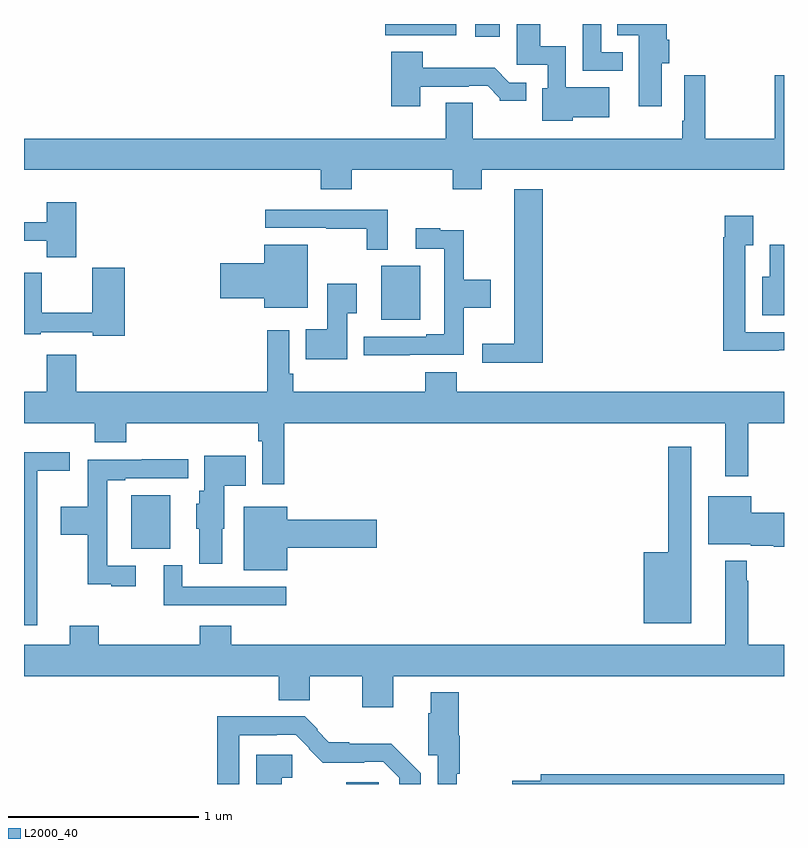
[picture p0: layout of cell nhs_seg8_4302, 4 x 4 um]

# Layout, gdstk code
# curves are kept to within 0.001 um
import gdstk
lib = gdstk.Library(unit=1e-6, precision=1e-09)
def R(c, l, rs):  # rectangles x0, y0, x1, y1
    for r in rs: c.add(gdstk.rectangle(r[:2], r[2:], *l))
def P(c, l, *ps):  # polygons
    for p in ps: c.add(gdstk.Polygon(p, *l))
L2000_40 = (2000, 40)

nhs_seg8_4302 = lib.new_cell('nhs_seg8_4302')
R(nhs_seg8_4302, L2000_40, [(374.696,1147.9,374.866,1147.908), (373.565,1149.137,373.771,1149.421), (374.879,1150.343,375.085,1150.627), (375.374,1151.832,375.505,1151.9), (374.901,1151.84,375.274,1151.9)])
P(nhs_seg8_4302, L2000_40, [(376.15,1151.751),(376.038,1151.751),(376.038,1151.9),(375.942,1151.9),(375.942,1151.655),(376.15,1151.655)],
  [(376.357,1151.694),(376.397,1151.694),(376.397,1151.816),(376.384,1151.816),(376.384,1151.9),(376.123,1151.9),(376.123,1151.84),(376.235,1151.84),(376.235,1151.466),(376.357,1151.466)],
  [(375.888,1151.408),(376.081,1151.408),(376.081,1151.566),(375.852,1151.566),(375.852,1151.782),(375.718,1151.782),(375.718,1151.9),(375.593,1151.9),(375.593,1151.685),(375.756,1151.685),(375.756,1151.562),(375.728,1151.562),(375.728,1151.39),(375.888,1151.39)],
  [(375.085,1151.571),(375.341,1151.571),(375.341,1151.574),(375.44,1151.574),(375.504,1151.51),(375.504,1151.495),(375.643,1151.495),(375.643,1151.592),(375.555,1151.592),(375.477,1151.671),(375.098,1151.671),(375.098,1151.755),(374.933,1151.755),(374.933,1151.466),(375.085,1151.466)],
  [(374.726,1151.132),(375.257,1151.132),(375.257,1151.03),(375.409,1151.03),(375.409,1151.132),(377,1151.132),(377,1151.629),(376.95,1151.629),(376.95,1151.296),(376.585,1151.296),(376.585,1151.629),(376.476,1151.629),(376.476,1151.392),(376.464,1151.392),(376.464,1151.296),(375.361,1151.296),(375.361,1151.486),(375.221,1151.486),(375.221,1151.296),(373,1151.296),(373,1151.132),(374.561,1151.132),(374.561,1151.03),(374.726,1151.03)],
  [(375.731,1151.029),(375.581,1151.029),(375.581,1150.217),(375.411,1150.217),(375.411,1150.118),(375.731,1150.118)],
  [(373.274,1150.963),(373.121,1150.963),(373.121,1150.857),(373,1150.857),(373,1150.76),(373.119,1150.76),(373.119,1150.673),(373.274,1150.673)],
  [(374.914,1150.923),(374.271,1150.923),(374.271,1150.827),(374.59,1150.827),(374.59,1150.822),(374.805,1150.822),(374.805,1150.712),(374.914,1150.712)],
  [(376.973,1150.182),(377,1150.182),(377,1150.278),(376.797,1150.278),(376.797,1150.735),(376.837,1150.735),(376.837,1150.891),(376.689,1150.891),(376.689,1150.778),(376.681,1150.778),(376.681,1150.181),(376.973,1150.181)],
  [(375.029,1150.158),(375.314,1150.158),(375.314,1150.406),(375.457,1150.406),(375.457,1150.554),(375.314,1150.554),(375.314,1150.814),(375.191,1150.814),(375.191,1150.825),(375.063,1150.825),(375.063,1150.716),(375.213,1150.716),(375.213,1150.267),(375.116,1150.267),(375.116,1150.254),(374.787,1150.254),(374.787,1150.157),(375.029,1150.157)],
  [(377,1150.738),(376.925,1150.738),(376.925,1150.57),(376.886,1150.57),(376.886,1150.367),(377,1150.367)],
  [(374.494,1150.738),(374.264,1150.738),(374.264,1150.64),(374.034,1150.64),(374.034,1150.457),(374.264,1150.457),(374.264,1150.406),(374.494,1150.406)],
  [(373.529,1150.618),(373.358,1150.618),(373.358,1150.379),(373.094,1150.379),(373.094,1150.591),(373,1150.591),(373,1150.266),(373.087,1150.266),(373.087,1150.278),(373.362,1150.278),(373.362,1150.258),(373.529,1150.258)],
  [(374.701,1150.378),(374.752,1150.378),(374.752,1150.534),(374.597,1150.534),(374.597,1150.294),(374.482,1150.294),(374.482,1150.136),(374.701,1150.136)],
  [(374.369,1149.8),(376.691,1149.8),(376.691,1149.519),(376.813,1149.519),(376.813,1149.8),(377,1149.8),(377,1149.964),(375.278,1149.964),(375.278,1150.066),(375.113,1150.066),(375.113,1149.964),(374.417,1149.964),(374.417,1150.06),(374.397,1150.06),(374.397,1150.288),(374.281,1150.288),(374.281,1149.964),(373.274,1149.964),(373.274,1150.159),(373.121,1150.159),(373.121,1149.964),(373,1149.964),(373,1149.8),(373.373,1149.8),(373.373,1149.698),(373.538,1149.698),(373.538,1149.8),(374.233,1149.8),(374.233,1149.704),(374.253,1149.704),(374.253,1149.477),(374.369,1149.477)],
  [(376.513,1149.676),(376.392,1149.676),(376.392,1149.121),(376.262,1149.121),(376.262,1148.747),(376.513,1148.747)],
  [(373.069,1149.548),(373.24,1149.548),(373.24,1149.646),(373,1149.646),(373,1148.736),(373.069,1148.736)],
  [(374.044,1149.243),(374.053,1149.243),(374.053,1149.47),(374.168,1149.47),(374.168,1149.628),(373.949,1149.628),(373.949,1149.444),(373.922,1149.444),(373.922,1149.375),(373.907,1149.375),(373.907,1149.243),(373.922,1149.243),(373.922,1149.06),(374.044,1149.06)],
  [(373.588,1149.048),(373.437,1149.048),(373.437,1149.498),(373.534,1149.498),(373.534,1149.51),(373.864,1149.51),(373.864,1149.608),(373.621,1149.608),(373.621,1149.606),(373.336,1149.606),(373.336,1149.358),(373.194,1149.358),(373.194,1149.211),(373.336,1149.211),(373.336,1148.951),(373.46,1148.951),(373.46,1148.94),(373.588,1148.94)],
  [(377,1149.327),(376.828,1149.327),(376.828,1149.415),(376.601,1149.415),(376.601,1149.161),(376.824,1149.161),(376.824,1149.155),(376.946,1149.155),(376.946,1149.149),(377,1149.149)],
  [(374.386,1149.143),(374.857,1149.143),(374.857,1149.29),(374.386,1149.29),(374.386,1149.358),(374.156,1149.358),(374.156,1149.026),(374.386,1149.026)],
  [(374.944,1148.468),(377,1148.468),(377,1148.632),(376.813,1148.632),(376.813,1148.969),(376.805,1148.969),(376.805,1149.076),(376.691,1149.076),(376.691,1148.632),(374.09,1148.632),(374.09,1148.734),(373.925,1148.734),(373.925,1148.632),(373.394,1148.632),(373.394,1148.734),(373.241,1148.734),(373.241,1148.632),(373,1148.632),(373,1148.468),(374.342,1148.468),(374.342,1148.342),(374.503,1148.342),(374.503,1148.468),(374.78,1148.468),(374.78,1148.304),(374.944,1148.304)],
  [(374.38,1148.937),(373.833,1148.937),(373.833,1149.052),(373.736,1149.052),(373.736,1148.841),(374.38,1148.841)],
  [(375.278,1147.955),(375.293,1147.955),(375.293,1148.155),(375.287,1148.155),(375.287,1148.383),(375.14,1148.383),(375.14,1148.273),(375.128,1148.273),(375.128,1148.052),(375.177,1148.052),(375.177,1147.9),(375.278,1147.9)],
  [(374.133,1148.156),(374.33,1148.156),(374.33,1148.16),(374.43,1148.16),(374.502,1148.088),(374.499,1148.085),(374.573,1148.012),(374.792,1148.012),(374.792,1148.016),(374.892,1148.016),(374.976,1147.932),(374.976,1147.9),(375.088,1147.9),(375.088,1147.956),(374.933,1148.113),(374.713,1148.113),(374.713,1148.121),(374.605,1148.121),(374.543,1148.183),(374.547,1148.187),(374.477,1148.257),(374.017,1148.257),(374.017,1147.9),(374.133,1147.9)],
  [(374.356,1147.934),(374.413,1147.934),(374.413,1148.054),(374.222,1148.054),(374.222,1147.9),(374.356,1147.9)],
  [(377,1147.952),(375.719,1147.952),(375.719,1147.916),(375.57,1147.916),(375.57,1147.9),(377,1147.9)])

lib.write_gds('nhs_seg8_4302.gds')
